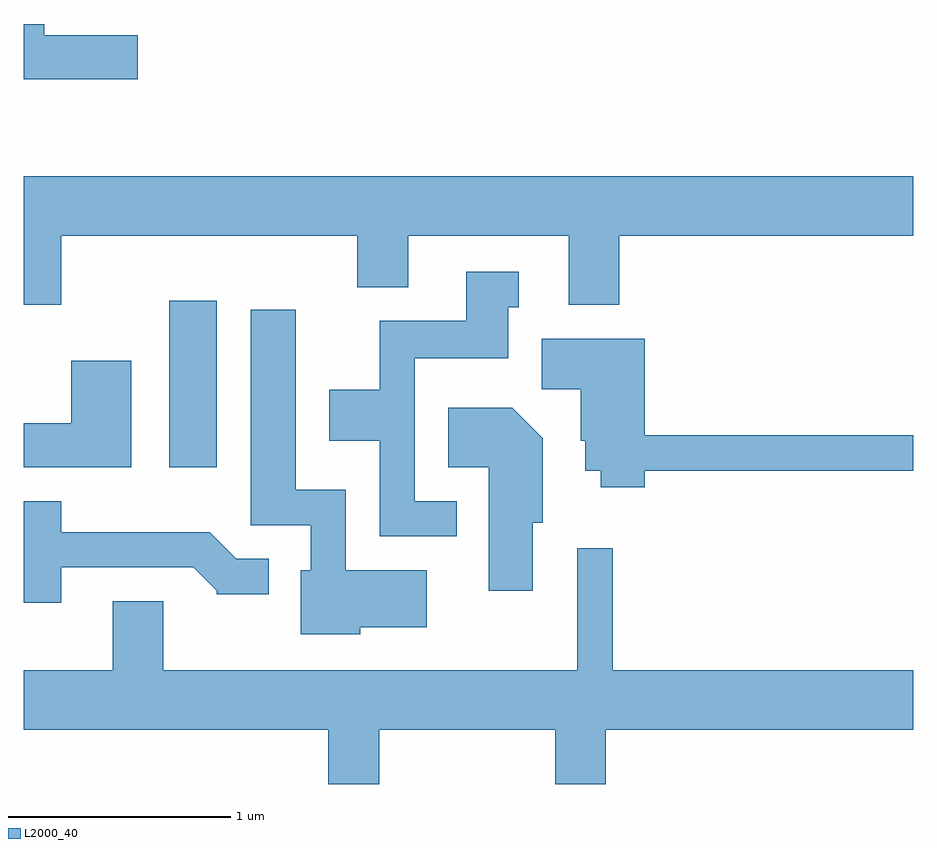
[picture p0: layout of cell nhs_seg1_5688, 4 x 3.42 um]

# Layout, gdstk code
import gdstk
lib = gdstk.Library(unit=1e-6, precision=1e-09)
def R(c, l, rs):  # rectangles x0, y0, x1, y1
    for r in rs: c.add(gdstk.rectangle(r[:2], r[2:], *l))
def P(c, l, *ps):  # polygons
    for p in ps: c.add(gdstk.Polygon(p, *l))
L2000_40 = (2000, 40)

nhs_seg1_5688 = lib.new_cell('nhs_seg1_5688')
R(nhs_seg1_5688, L2000_40, [(356.266,965.136,356.479,965.884)])
P(nhs_seg1_5688, L2000_40, [(356.124,967.079),(355.704,967.079),(355.704,967.129),(355.611,967.129),(355.611,966.881),(356.124,966.881)],
  [(355.779,966.176),(357.111,966.176),(357.111,965.946),(357.339,965.946),(357.339,966.176),(358.061,966.176),(358.061,965.866),(358.289,965.866),(358.289,966.176),(359.611,966.176),(359.611,966.444),(355.611,966.444),(355.611,965.866),(355.779,965.866)],
  [(357.558,964.984),(357.369,964.984),(357.369,965.626),(357.789,965.626),(357.789,965.856),(357.838,965.856),(357.838,966.014),(357.601,966.014),(357.601,965.794),(357.211,965.794),(357.211,965.484),(356.986,965.484),(356.986,965.256),(357.211,965.256),(357.211,964.826),(357.558,964.826)],
  [(357.124,964.416),(357.424,964.416),(357.424,964.674),(357.059,964.674),(357.059,965.034),(356.834,965.034),(356.834,965.844),(356.631,965.844),(356.631,964.876),(356.901,964.876),(356.901,964.674),(356.856,964.674),(356.856,964.386),(357.124,964.386)],
  [(358.404,965.121),(359.611,965.121),(359.611,965.279),(358.404,965.279),(358.404,965.714),(357.941,965.714),(357.941,965.486),(358.116,965.486),(358.116,965.256),(358.136,965.256),(358.136,965.121),(358.206,965.121),(358.206,965.046),(358.404,965.046)],
  [(356.094,965.614),(355.826,965.614),(355.826,965.334),(355.611,965.334),(355.611,965.136),(356.094,965.136)],
  [(357.899,964.886),(357.944,964.886),(357.944,965.267),(357.807,965.404),(357.521,965.404),(357.521,965.136),(357.701,965.136),(357.701,964.581),(357.899,964.581)],
  [(355.779,964.686),(356.374,964.686),(356.48,964.58),(356.48,964.566),(356.713,964.566),(356.713,964.724),(356.567,964.724),(356.447,964.844),(355.779,964.844),(355.779,964.984),(355.611,964.984),(355.611,964.526),(355.779,964.526)],
  [(358.101,964.773),(358.101,964.224),(356.239,964.224),(356.239,964.534),(356.011,964.534),(356.011,964.224),(355.611,964.224),(355.611,963.956),(356.981,963.956),(356.981,963.712),(357.209,963.712),(357.209,963.956),(358.001,963.956),(358.001,963.712),(358.229,963.712),(358.229,963.956),(359.611,963.956),(359.611,964.224),(358.259,964.224),(358.259,964.773)])

lib.write_gds('nhs_seg1_5688.gds')
